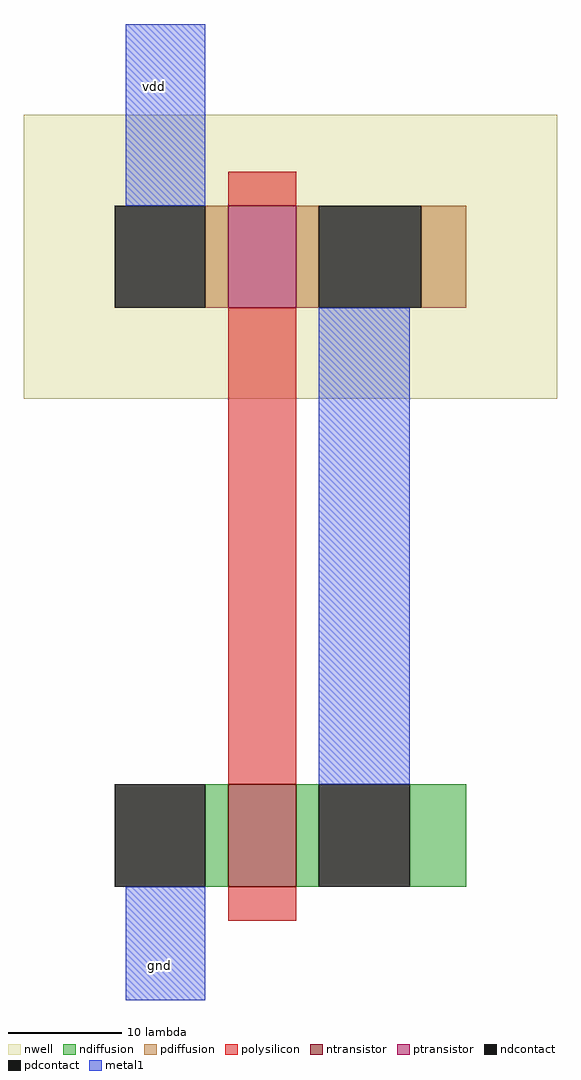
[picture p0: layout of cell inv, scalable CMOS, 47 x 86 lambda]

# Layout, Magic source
magic
tech scmos
<< nwell >>
rect -14 0 33 25
<< ntransistor >>
rect 4 -43 10 -34
<< ptransistor >>
rect 4 8 10 17
<< ndiffusion >>
rect 2 -43 4 -34
rect 10 -43 12 -34
rect 20 -43 25 -34
<< pdiffusion >>
rect 2 8 4 17
rect 10 8 12 17
rect 21 8 25 17
<< ndcontact >>
rect -6 -43 2 -34
rect 12 -43 20 -34
<< pdcontact >>
rect -6 8 2 17
rect 12 8 21 17
<< polysilicon >>
rect 4 17 10 20
rect 4 -34 10 8
rect 4 -46 10 -43
<< metal1 >>
rect -5 17 2 33
rect 12 -34 20 8
rect -5 -53 2 -43
<< labels >>
rlabel metal1 -4 26 -1 29 1 vdd
rlabel metal1 -4 -51 0 -49 1 gnd
<< end >>
